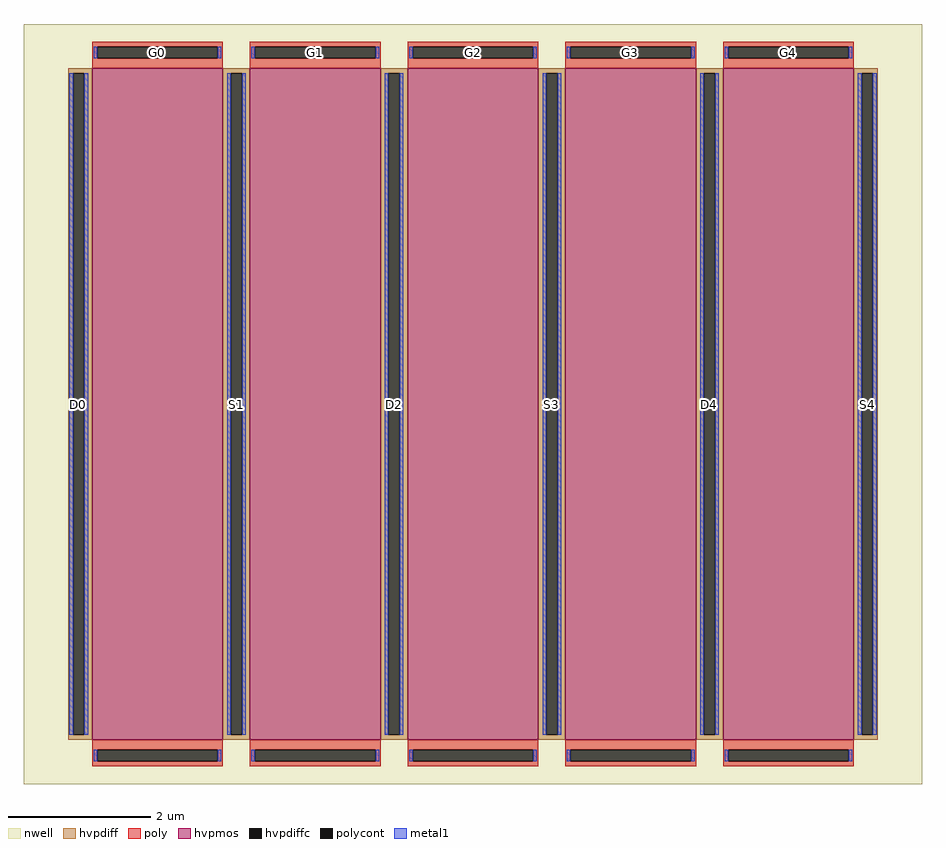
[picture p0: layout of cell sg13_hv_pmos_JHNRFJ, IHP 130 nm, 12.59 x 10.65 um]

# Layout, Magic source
magic
tech ihp-sg13cmos5l
magscale 1 2
<< nwell >>
rect -1259 -1065 1259 1065
<< hvpmos >>
rect -1067 -941 -701 941
rect -625 -941 -259 941
rect -183 -941 183 941
rect 259 -941 625 941
rect 701 -941 1067 941
<< hvpdiff >>
rect -1135 927 -1067 941
rect -1135 -927 -1121 927
rect -1089 -927 -1067 927
rect -1135 -941 -1067 -927
rect -701 927 -625 941
rect -701 -927 -679 927
rect -647 -927 -625 927
rect -701 -941 -625 -927
rect -259 927 -183 941
rect -259 -927 -237 927
rect -205 -927 -183 927
rect -259 -941 -183 -927
rect 183 927 259 941
rect 183 -927 205 927
rect 237 -927 259 927
rect 183 -941 259 -927
rect 625 927 701 941
rect 625 -927 647 927
rect 679 -927 701 927
rect 625 -941 701 -927
rect 1067 927 1135 941
rect 1067 -927 1089 927
rect 1121 -927 1135 927
rect 1067 -941 1135 -927
<< hvpdiffc >>
rect -1121 -927 -1089 927
rect -679 -927 -647 927
rect -237 -927 -205 927
rect 205 -927 237 927
rect 647 -927 679 927
rect 1089 -927 1121 927
<< poly >>
rect -1067 1001 -701 1015
rect -1067 969 -1053 1001
rect -715 969 -701 1001
rect -1067 941 -701 969
rect -625 1001 -259 1015
rect -625 969 -611 1001
rect -273 969 -259 1001
rect -625 941 -259 969
rect -183 1001 183 1015
rect -183 969 -169 1001
rect 169 969 183 1001
rect -183 941 183 969
rect 259 1001 625 1015
rect 259 969 273 1001
rect 611 969 625 1001
rect 259 941 625 969
rect 701 1001 1067 1015
rect 701 969 715 1001
rect 1053 969 1067 1001
rect 701 941 1067 969
rect -1067 -969 -701 -941
rect -1067 -1001 -1053 -969
rect -715 -1001 -701 -969
rect -1067 -1015 -701 -1001
rect -625 -969 -259 -941
rect -625 -1001 -611 -969
rect -273 -1001 -259 -969
rect -625 -1015 -259 -1001
rect -183 -969 183 -941
rect -183 -1001 -169 -969
rect 169 -1001 183 -969
rect -183 -1015 183 -1001
rect 259 -969 625 -941
rect 259 -1001 273 -969
rect 611 -1001 625 -969
rect 259 -1015 625 -1001
rect 701 -969 1067 -941
rect 701 -1001 715 -969
rect 1053 -1001 1067 -969
rect 701 -1015 1067 -1001
<< polycont >>
rect -1053 969 -715 1001
rect -611 969 -273 1001
rect -169 969 169 1001
rect 273 969 611 1001
rect 715 969 1053 1001
rect -1053 -1001 -715 -969
rect -611 -1001 -273 -969
rect -169 -1001 169 -969
rect 273 -1001 611 -969
rect 715 -1001 1053 -969
<< metal1 >>
rect -1063 969 -1053 1001
rect -715 969 -705 1001
rect -621 969 -611 1001
rect -273 969 -263 1001
rect -179 969 -169 1001
rect 169 969 179 1001
rect 263 969 273 1001
rect 611 969 621 1001
rect 705 969 715 1001
rect 1053 969 1063 1001
rect -1131 -927 -1121 927
rect -1089 -927 -1079 927
rect -689 -927 -679 927
rect -647 -927 -637 927
rect -247 -927 -237 927
rect -205 -927 -195 927
rect 195 -927 205 927
rect 237 -927 247 927
rect 637 -927 647 927
rect 679 -927 689 927
rect 1079 -927 1089 927
rect 1121 -927 1131 927
rect -1063 -1001 -1053 -969
rect -715 -1001 -705 -969
rect -621 -1001 -611 -969
rect -273 -1001 -263 -969
rect -179 -1001 -169 -969
rect 169 -1001 179 -969
rect 263 -1001 273 -969
rect 611 -1001 621 -969
rect 705 -1001 715 -969
rect 1053 -1001 1063 -969
<< labels >>
rlabel hvpdiffc -1105 0 -1105 0 0 D0
port 34 nsew
rlabel polycont -884 985 -884 985 0 G0
port 35 nsew
rlabel hvpdiffc -663 0 -663 0 0 S1
port 36 nsew
rlabel polycont -442 985 -442 985 0 G1
port 37 nsew
rlabel hvpdiffc -221 0 -221 0 0 D2
port 38 nsew
rlabel polycont 0 985 0 985 0 G2
port 39 nsew
rlabel hvpdiffc 221 0 221 0 0 S3
port 40 nsew
rlabel polycont 442 985 442 985 0 G3
port 41 nsew
rlabel hvpdiffc 663 0 663 0 0 D4
port 42 nsew
rlabel hvpdiffc 1105 0 1105 0 0 S4
port 43 nsew
rlabel polycont 884 985 884 985 0 G4
port 44 nsew
<< properties >>
string gencell sg13_hv_pmos
string library sg13cmos5l
string parameters w 9.408 l 1.83 m 1 ng 5 diffcov 100 polycov 100 guard 0 glc 1 grc 1 gtc 1 gbc 1 tbcov 100 rlcov 100 topc 1 botc 1 poverlap 0 doverlap 1 lmin 0.4 wmin 0.15 class mosfet compatible {sg13_lv_pmos sg13_hv_pmos} full_metal 1 conn_gates 0 gate_ring 0 ccols 1 viasrc 0 viadrn 0 viagate 0 viagb 0 viagr 0 viagl 0 viagt 0 doports 1
<< end >>
